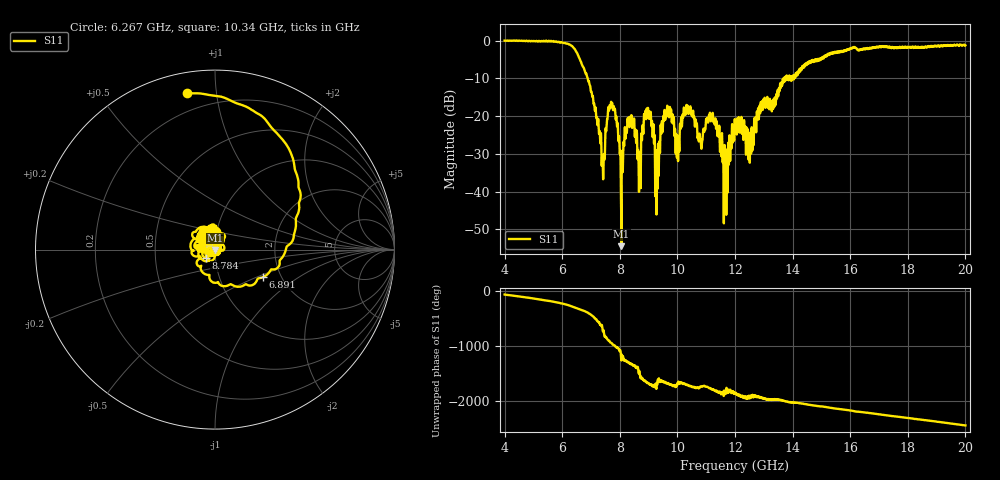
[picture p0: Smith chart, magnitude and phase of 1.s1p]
[Version] 2.0
! Rohde & Schwarz Vector Network Analyzer
! Rohde-Schwarz,ZNL20-2Port,1323001220200009,1.71.1.10-23.02.1.238
! Port Assignments:
! Nominal Port -> Actual Test Port
!  1 -> 1
! Created: GMT+2 2025-01-17 12:44:12
# Hz S RI R 50
[Number of Ports] 1
! freq[Hz]  S11[Re]  S11[Im]
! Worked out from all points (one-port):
!   16001 points, 4 GHz to 20 GHz, reference 50 ohm
!   lowest |S11| = -54.5 dB at 8.056 GHz (marker M1), VSWR 1.00, Z = 49.9 - j0.18 ohm
!   |S11| at or under -10 dB: 6.886 GHz to 13.7 GHz (6.812 GHz wide, 66.2 % of centre); 13.71194 GHz to 13.73984 GHz (27.89 MHz wide, 0.203 % of centre); 13.94131 GHz to 13.96412 GHz (22.81 MHz wide, 0.163 % of centre)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
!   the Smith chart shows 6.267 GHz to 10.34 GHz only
!   S11 on the Smith chart (normalised r, x): 6.267 GHz: 0.10, +0.83; 6.891 GHz: 1.61, -0.55; 8.784 GHz: 0.90, -0.08; 10.34 GHz: 0.95, +0.23
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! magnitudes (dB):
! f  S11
! 4 GHz  0.0
! 6 GHz  -0.5
! 6.267 GHz  -1.0
! 6.891 GHz  -10.2
! 7.401 GHz  -30.9
! 7.716 GHz  -16.7
! 7.862 GHz  -20.9
! 8 GHz  -30.1
! 8.056 GHz  -54.5
! 8.335 GHz  -22.9
! 8.659 GHz  -35.9
! 8.784 GHz  -23.2
! 9.006 GHz  -20.6
! 9.297 GHz  -29.7
! 9.487 GHz  -24.2
! 9.711 GHz  -20.2
! 10 GHz  -25.2
! 10.34 GHz  -18.5
! 10.8 GHz  -26.2
! 11.25 GHz  -21.6
! 11.67 GHz  -29.3
! 12 GHz  -21.4
! 12.54 GHz  -24.3
! 12.96 GHz  -18.3
! 14 GHz  -10.2
! 16 GHz  -2.0
! 18 GHz  -1.6
! 20 GHz  -1.2
